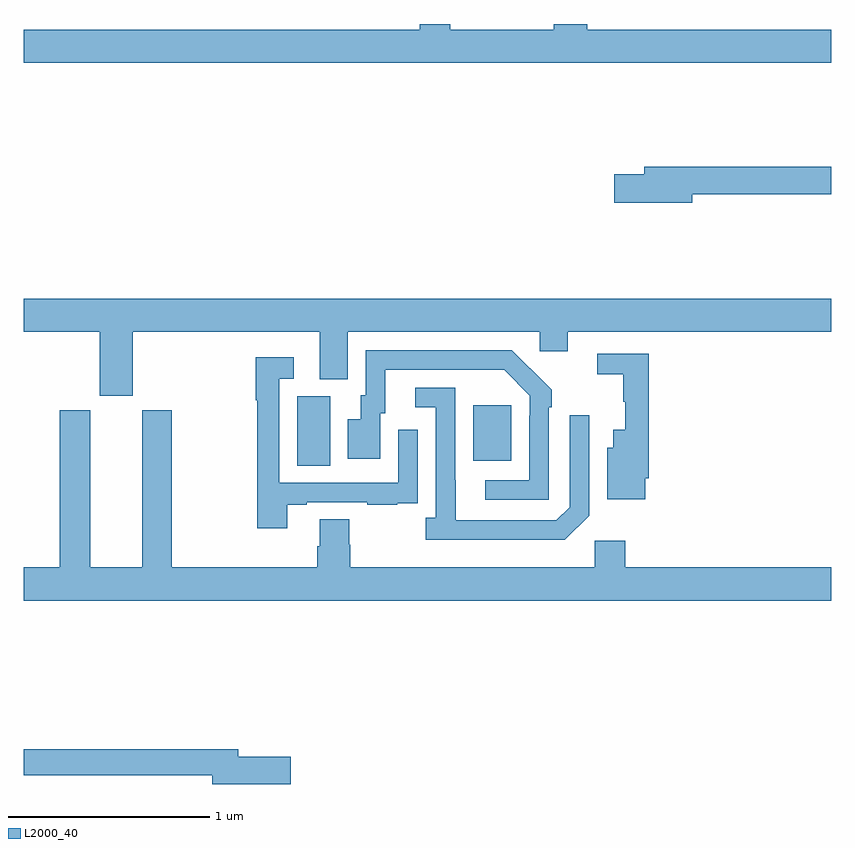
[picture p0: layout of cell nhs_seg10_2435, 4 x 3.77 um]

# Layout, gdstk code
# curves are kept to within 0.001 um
import gdstk
lib = gdstk.Library(unit=1e-6, precision=1e-09)
def R(c, l, rs):  # rectangles x0, y0, x1, y1
    for r in rs: c.add(gdstk.rectangle(r[:2], r[2:], *l))
def P(c, l, *ps):  # polygons
    for p in ps: c.add(gdstk.Polygon(p, *l))
L2000_40 = (2000, 40)

nhs_seg10_2435 = lib.new_cell('nhs_seg10_2435')
R(nhs_seg10_2435, L2000_40, [(242.354,1306.312,242.518,1306.656), (243.227,1306.337,243.415,1306.612)])
P(nhs_seg10_2435, L2000_40, [(245,1308.472),(243.791,1308.472),(243.791,1308.5),(243.626,1308.5),(243.626,1308.472),(243.113,1308.472),(243.113,1308.5),(242.961,1308.5),(242.961,1308.472),(241,1308.472),(241,1308.308),(245,1308.308)],
  [(244.312,1307.656),(245,1307.656),(245,1307.792),(244.073,1307.792),(244.073,1307.756),(243.924,1307.756),(243.924,1307.614),(244.312,1307.614)],
  [(241.54,1306.976),(242.465,1306.976),(242.465,1306.741),(242.605,1306.741),(242.605,1306.976),(243.555,1306.976),(243.555,1306.878),(243.694,1306.878),(243.694,1306.976),(245,1306.976),(245,1307.14),(241,1307.14),(241,1306.976),(241.376,1306.976),(241.376,1306.659),(241.54,1306.659)],
  [(243.6,1306.601),(243.615,1306.601),(243.615,1306.689),(243.418,1306.884),(242.694,1306.884),(242.694,1306.662),(242.669,1306.662),(242.669,1306.543),(242.606,1306.543),(242.606,1306.347),(242.767,1306.347),(242.767,1306.572),(242.791,1306.572),(242.791,1306.788),(243.379,1306.788),(243.507,1306.659),(243.507,1306.559),(243.504,1306.559),(243.504,1306.239),(243.285,1306.239),(243.285,1306.143),(243.6,1306.143)],
  [(244.078,1306.249),(244.097,1306.249),(244.097,1306.866),(243.84,1306.866),(243.84,1306.765),(243.969,1306.765),(243.969,1306.629),(243.98,1306.629),(243.98,1306.489),(243.92,1306.489),(243.92,1306.402),(243.89,1306.402),(243.89,1306.145),(244.078,1306.145)],
  [(242.305,1306.119),(242.401,1306.119),(242.401,1306.131),(242.701,1306.131),(242.701,1306.119),(242.849,1306.119),(242.849,1306.125),(242.951,1306.125),(242.951,1306.234),(242.952,1306.234),(242.952,1306.489),(242.856,1306.489),(242.856,1306.227),(242.265,1306.227),(242.265,1306.743),(242.338,1306.743),(242.338,1306.849),(242.149,1306.849),(242.149,1306.636),(242.157,1306.636),(242.157,1306.002),(242.305,1306.002)],
  [(243.801,1306.065),(243.801,1306.561),(243.705,1306.561),(243.705,1306.107),(243.639,1306.041),(243.139,1306.041),(243.138,1306.698),(242.94,1306.698),(242.94,1306.602),(243.042,1306.602),(243.042,1306.054),(242.991,1306.054),(242.991,1305.944),(243.68,1305.944)],
  [(245,1305.808),(243.98,1305.808),(243.98,1305.94),(243.828,1305.94),(243.828,1305.808),(242.618,1305.808),(242.618,1305.921),(242.613,1305.921),(242.613,1306.046),(242.465,1306.046),(242.465,1305.914),(242.453,1305.914),(242.453,1305.808),(241.734,1305.808),(241.734,1306.587),(241.586,1306.587),(241.586,1305.808),(241.33,1305.808),(241.33,1306.587),(241.178,1306.587),(241.178,1305.808),(241,1305.808),(241,1305.644),(245,1305.644)],
  [(242.323,1304.87),(242.062,1304.87),(242.062,1304.906),(241,1304.906),(241,1304.778),(241.934,1304.778),(241.934,1304.735),(242.323,1304.735)])

lib.write_gds('nhs_seg10_2435.gds')
